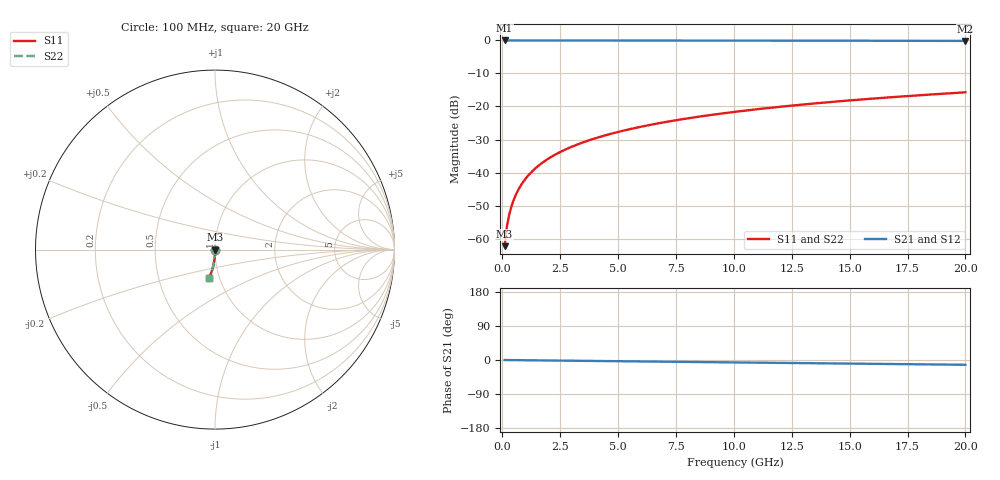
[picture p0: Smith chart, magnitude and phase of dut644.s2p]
! Touchstone file exported from HFSS 2026.1.0
!  File:  C:/ffzhzh/LocalFiles/Ansys_Project_Files/temp_train_TSV_644_1783026512_51716.aedt
!  Generated:  05:09:46 AM Jul  3, 2026
!  Design:  TSV
!  Project:  temp_train_TSV_644_1783026512_51716
! Variables:
!  h_bsmrdl = 2um
!  h_ox = 20um
!  h_rdl = 5um
!  h_sub = 90.94um
!  h_tmrdl = 5um
!  h_tsv = 90.94um
!  h_via = 3um
!  l_bsmrdl = 300um
!  l_sub = 426.02um
!  l_tmrdl = 200um
!  m_sub = 200um
!  pitch = 29.19um
!  r_tsv = 13.01um
!  s_tmrdl = 10um
!  w_bsmrdl = 18um
!  w_sub = 500um
!  w_tmrdl = 12um
!  x_tsv_center1 = 206um
!  x_tsv_center2 = 524um
!  x_tsv_center3 = 736um
!  x_tsv_center4 = 1054um
!  x_tsv_center5 = 1266um
!  x_tsv_center6 = 1584um
# GHz S MA R 50.000000
! Terminal data exported
! Port[1] = TSV1_1_T1
! Port[2] = TSV1_1_T2
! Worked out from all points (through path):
!   200 points, 100 MHz to 20 GHz, reference 50 ohm
!   highest |S21| = 0.00 dB at 100 MHz (marker M1); lowest = -0.1 dB at 20 GHz (marker M2)
!   group delay of S21, straight-line fit = 1.75 ps
!   lowest |S11| = -62.3 dB at 100 MHz (marker M3), VSWR 1.00, Z = 50 - j0.0759 ohm
!   |S11| at or under -10 dB: start of sweep to end of sweep
!   |S22| runs from -62.3 to -15.7 dB; largest |S21 - S12| = 3.3e-15
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0.1  0.0007677 -81.3  0.9999 -0.1  0.9999 -0.1  0.0007677 -81.3
! Gamma 0 0 0 0
! Port Impedance 50 0 50 0
0.2  0.001532 -84.7  0.9999 -0.1  0.9999 -0.1  0.001532 -84.7
0.3  0.002312 -85.7  0.9998 -0.2  0.9998 -0.2  0.002312 -85.7
0.4  0.003107 -86.1  0.9998 -0.3  0.9998 -0.3  0.003107 -86.1
0.5  0.003913 -86.4  0.9997 -0.3  0.9997 -0.3  0.003913 -86.4
0.7  0.005549 -86.9  0.9996 -0.5  0.9996 -0.5  0.005549 -86.9
0.8  0.006374 -87.2  0.9996 -0.5  0.9996 -0.5  0.006374 -87.2
1  0.00803 -87.7  0.9995 -0.7  0.9995 -0.7  0.00803 -87.7
1.2  0.009688 -88.1  0.9995 -0.8  0.9995 -0.8  0.009688 -88.1
1.4  0.01135 -88.4  0.9994 -0.9  0.9994 -0.9  0.01135 -88.4
1.7  0.01383 -88.9  0.9994 -1.1  0.9994 -1.1  0.01383 -88.9
2  0.01632 -89.3  0.9993 -1.3  0.9993 -1.3  0.01632 -89.3
2.7  0.02211 -90.1  0.9991 -1.7  0.9991 -1.7  0.02211 -90.1
3.5  0.02874 -90.8  0.9989 -2.2  0.9989 -2.2  0.02874 -90.8
4.2  0.03455 -91.4  0.9986 -2.7  0.9986 -2.7  0.03455 -91.4
5  0.04119 -92.0  0.9983 -3.2  0.9983 -3.2  0.04119 -92.0
6.8  0.05613 -93.3  0.9974 -4.3  0.9974 -4.3  0.05613 -93.3
8.3  0.06857 -94.3  0.9965 -5.3  0.9965 -5.3  0.06857 -94.3
10.1  0.08345 -95.5  0.9952 -6.4  0.9952 -6.4  0.08346 -95.5
13.4  0.1106 -97.7  0.9923 -8.5  0.9923 -8.5  0.1106 -97.7
16.7  0.1374 -99.8  0.9888 -10.6  0.9888 -10.6  0.1374 -99.8
20  0.1639 -101.9  0.9846 -12.6  0.9846 -12.6  0.1639 -101.9
